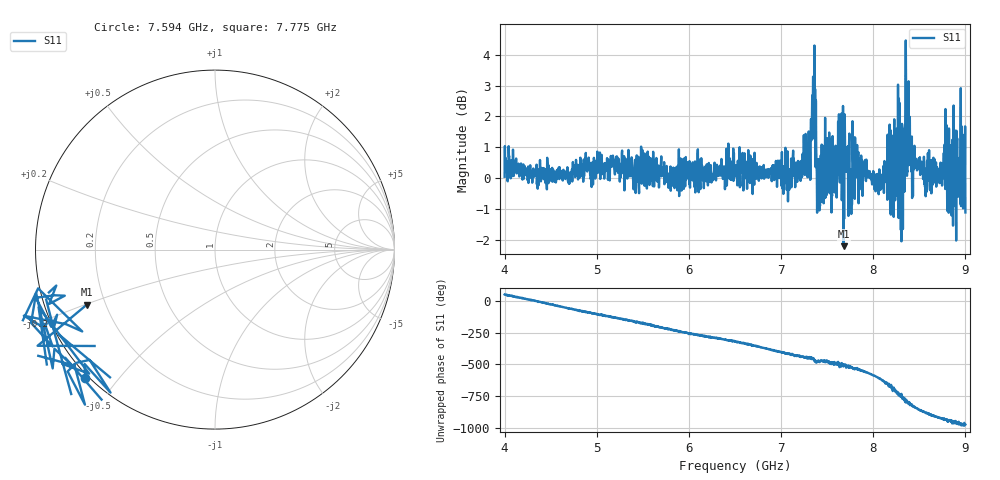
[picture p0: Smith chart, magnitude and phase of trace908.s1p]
! Created with skrf 1.8.0 (http://scikit-rf.org).
# Hz S RI R 50.0
!freq ReS11 ImS11
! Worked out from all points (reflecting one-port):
!   1601 points, 4 GHz to 9 GHz, reference 50 ohm
!   lowest |S11| = -2.2 dB at 7.678 GHz (marker M1), VSWR 7.94, Z = 6.56 - j10.1 ohm
!   phase of S11 starts at 52 deg and turns -1028 deg over the sweep
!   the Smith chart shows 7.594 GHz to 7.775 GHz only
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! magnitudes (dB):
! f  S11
! 4 GHz  0.0
! 4.625 GHz  0.0
! 5.25 GHz  -0.1
! 5.875 GHz  -0.4
! 6.5 GHz  0.2
! 7.125 GHz  0.3
! 7.294 GHz  0.4
! 7.347 GHz  3.3
! 7.362 GHz  4.3
! 7.412 GHz  0.4
! 7.559 GHz  1.4
! 7.65 GHz  1.1
! 7.678 GHz  -2.2
! 7.75 GHz  -0.4
! 7.8 GHz  -0.7
! 8.075 GHz  0.0
! 8.262 GHz  -0.6
! 8.312 GHz  1.8
! 8.334 GHz  1.2
! 8.347 GHz  1.8
! 8.375 GHz  0.8
! 8.384 GHz  3.1
! 8.447 GHz  1.1
! 8.722 GHz  0.1
! 8.788 GHz  -0.1
! 8.841 GHz  1.1
! 8.972 GHz  0.3
! 9 GHz  -1.1
